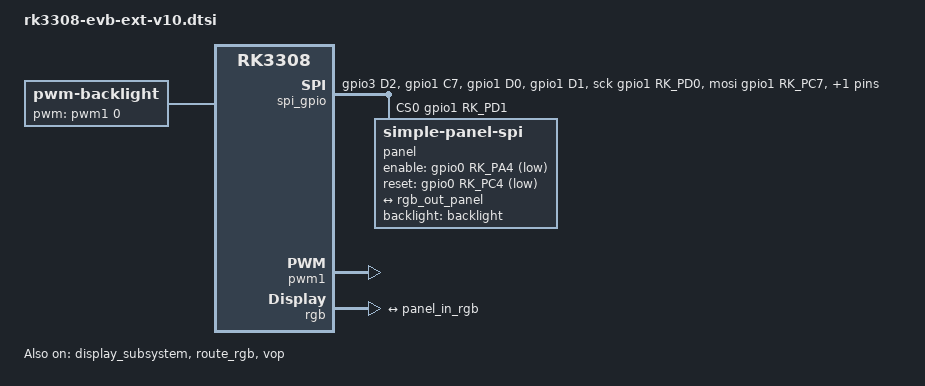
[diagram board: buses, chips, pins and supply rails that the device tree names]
/*
 * Copyright (c) 2018 Fuzhou Rockchip Electronics Co., Ltd
 *
 * SPDX-License-Identifier: (GPL-2.0+ OR MIT)
 */

/ {
	backlight: backlight {
		status = "okay";
		compatible = "pwm-backlight";
		pwms = <&pwm1 0 25000 0>;
		brightness-levels = <
			  0   1   2   3   4   5   6   7
			  8   9  10  11  12  13  14  15
			 16  17  18  19  20  21  22  23
			 24  25  26  27  28  29  30  31
			 32  33  34  35  36  37  38  39
			 40  41  42  43  44  45  46  47
			 48  49  50  51  52  53  54  55
			 56  57  58  59  60  61  62  63
			 64  65  66  67  68  69  70  71
			 72  73  74  75  76  77  78  79
			 80  81  82  83  84  85  86  87
			 88  89  90  91  92  93  94  95
			 96  97  98  99 100 101 102 103
			104 105 106 107 108 109 110 111
			112 113 114 115 116 117 118 119
			120 121 122 123 124 125 126 127
			128 129 130 131 132 133 134 135
			136 137 138 139 140 141 142 143
			144 145 146 147 148 149 150 151
			152 153 154 155 156 157 158 159
			160 161 162 163 164 165 166 167
			168 169 170 171 172 173 174 175
			176 177 178 179 180 181 182 183
			184 185 186 187 188 189 190 191
			192 193 194 195 196 197 198 199
			200 201 202 203 204 205 206 207
			208 209 210 211 212 213 214 215
			216 217 218 219 220 221 222 223
			224 225 226 227 228 229 230 231
			232 233 234 235 236 237 238 239
			240 241 242 243 244 245 246 247
			248 249 250 251 252 253 254 255>;
		default-brightness-level = <200>;
	};

	spi_gpio: spi-gpio {
		compatible = "spi-gpio";
		#address-cells = <0x1>;
		#size-cells = <0x0>;
		pinctrl-names = "default";
		pinctrl-0 = <&spi_pins>;
		spi-delay-us = <10>;
		status = "okay";

		sck-gpios = <&gpio1 RK_PD0 GPIO_ACTIVE_HIGH>;
		miso-gpios = <&gpio3 RK_PD2 GPIO_ACTIVE_HIGH>;
		mosi-gpios = <&gpio1 RK_PC7 GPIO_ACTIVE_HIGH>;
		cs-gpios = <&gpio1 RK_PD1 GPIO_ACTIVE_HIGH>;
		num-chipselects = <1>;

		/*
		 * 320x480 RGB/MCU screen K350C4516T
		 */
		panel: panel {
			compatible = "simple-panel-spi";
			reg = <0>;
			bus-format = <MEDIA_BUS_FMT_RGB666_1X18>;
			backlight = <&backlight>;
			enable-gpios = <&gpio0 RK_PA4 GPIO_ACTIVE_LOW>;
			enable-delay-ms = <20>;
			reset-gpios = <&gpio0 RK_PC4 GPIO_ACTIVE_LOW>;
			reset-delay-ms = <10>;
			prepare-delay-ms = <20>;
			unprepare-delay-ms = <20>;
			disable-delay-ms = <20>;
			init-delay-ms = <10>;
			width-mm = <217>;
			height-mm = <136>;
			rockchip,cmd-type = "spi";
			status = "okay";

			// type:0 is cmd, 1 is data
			panel-init-sequence = [
				/* type delay num val1 val2 val3 */
				00   00  01  e0
				01   00  01  00
				01   00  01  07
				01   00  01  0f
				01   00  01  0d
				01   00  01  1b
				01   00  01  0a
				01   00  01  3c
				01   00  01  78
				01   00  01  4a
				01   00  01  07
				01   00  01  0e
				01   00  01  09
				01   00  01  1b
				01   00  01  1e
				01   00  01  0f
				00   00  01  e1
				01   00  01  00
				01   00  01  22
				01   00  01  24
				01   00  01  06
				01   00  01  12
				01   00  01  07
				01   00  01  36
				01   00  01  47
				01   00  01  47
				01   00  01  06
				01   00  01  0a
				01   00  01  07
				01   00  01  30
				01   00  01  37
				01   00  01  0f

				00   00  01  c0
				01   00  01  10
				01   00  01  10

				00   00  01  c1
				01   00  01  41

				00   00  01  c5
				01   00  01  00
				01   00  01  22
				01   00  01  80

				00   00  01  36
				01   00  01  48

				00   00  01  3a
				01   00  01  66 /*
						 * interface pixel format:
						 * 66 for RGB666(18bit)
						 */

				00   00  01  b0
				01   00  01  00

				00   00  01  b1
				01   00  01  a0 /*
						 * frame rate control:
						 * a0 (60hz) for RGB666(18bit)
						 */
				01   00  01  11
				00   00  01  b4
				01   00  01  02
				00   00  01  B6
				01   00  01  32 /*
						 * display function control:
						 * 32 for RGB
						 * 02 for MCU
						 */
				01   00  01  02

				00   00  01  b7
				01   00  01  c6

				00   00  01  be
				01   00  01  00
				01   00  01  04

				00   00  01  e9
				01   00  01  00

				00   00  01  f7
				01   00  01  a9
				01   00  01  51
				01   00  01  2c
				01   00  01  82

				00   78  01  11
				00   00  01  29
			];

			panel-exit-sequence = [
				//type delay num val1 val2 val3
				00   0a  01  28
				00   78  01  10
			];

			display-timings {
				native-mode = <&kd050fwfba002_timing>;

				kd050fwfba002_timing: timing0 {
					/*
					 * 10453500  for RGB666(18bit)
					 */
					clock-frequency = <10453500>;
					hactive = <320>;
					vactive = <480>;
					hback-porch = <10>;
					hfront-porch = <5>;
					vback-porch = <10>;
					vfront-porch = <5>;
					hsync-len = <10>;
					vsync-len = <10>;
					hsync-active = <0>;
					vsync-active = <0>;
					de-active = <0>;
					pixelclk-active = <1>;
				};
			};

			port {
				panel_in_rgb: endpoint {
					remote-endpoint = <&rgb_out_panel>;
				};
			};
		};
	};
};

&display_subsystem {
	status = "okay";
};

&pinctrl {
	soft_spi {
		spi_pins: spi-pins {
			rockchip,pins =
				/* spi sdo */
				<3 RK_PD2 RK_FUNC_GPIO &pcfg_pull_none>,
				/* spi sdi */
				<1 RK_PC7 RK_FUNC_GPIO &pcfg_pull_none>,
				/* spi scl */
				<1 RK_PD0 RK_FUNC_GPIO &pcfg_pull_none>,
				/* spi cs */
				<1 RK_PD1 RK_FUNC_GPIO &pcfg_pull_none>;
		};
	};
};

&pwm1 {
	status = "okay";
};

&rgb {
	status = "okay";

	ports {
		rgb_out: port@1 {
			reg = <1>;
			#address-cells = <1>;
			#size-cells = <0>;

			rgb_out_panel: endpoint@0 {
				reg = <0>;
				remote-endpoint = <&panel_in_rgb>;
			};
		};
	};
};

&route_rgb {
	status = "okay";
};

&vop {
	status = "okay";
};
